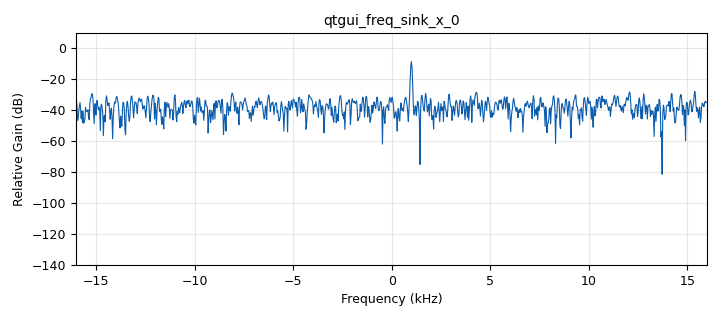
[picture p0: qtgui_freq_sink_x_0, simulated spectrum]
<?xml version='1.0' encoding='utf-8'?>
<?grc format='1' created='3.7.10'?>
<flow_graph>
<block>
<key>options</key>
<param><key>id</key><value>top_block</value></param>
<param><key>generate_options</key><value>qt_gui</value></param>
</block>
<block>
<key>variable_qtgui_range</key>
<param><key>id</key><value>freq</value></param>
<param><key>value</key><value>1e3</value></param>
<param><key>label</key><value>Freq</value></param>
<param><key>orient</key><value>Qt.Horizontal</value></param>
<param><key>start</key><value>1</value></param>
<param><key>step</key><value>1</value></param>
<param><key>stop</key><value>32e3</value></param>
</block>
<block>
<key>variable</key>
<param><key>id</key><value>prefix</value></param>
<param><key>value</key><value>"/home/user/recordings/"</value></param>
</block>
<block>
<key>variable_qtgui_check_box</key>
<param><key>id</key><value>recording_checkbox</value></param>
<param><key>value</key><value>False</value></param>
<param><key>false</key><value>False</value></param>
<param><key>label</key><value>Record</value></param>
<param><key>true</key><value>True</value></param>
<param><key>type</key><value>int</value></param>
</block>
<block>
<key>variable</key>
<param><key>id</key><value>samp_rate</value></param>
<param><key>value</key><value>32000</value></param>
</block>
<block>
<key>analog_noise_source_x</key>
<param><key>id</key><value>analog_noise_source_x_0</value></param>
<param><key>amp</key><value>1</value></param>
<param><key>noise_type</key><value>analog.GR_GAUSSIAN</value></param>
<param><key>type</key><value>complex</value></param>
<param><key>seed</key><value>0</value></param>
</block>
<block>
<key>analog_sig_source_x</key>
<param><key>id</key><value>analog_sig_source_x_0</value></param>
<param><key>amp</key><value>1</value></param>
<param><key>freq</key><value>freq</value></param>
<param><key>offset</key><value>0</value></param>
<param><key>type</key><value>complex</value></param>
<param><key>samp_rate</key><value>samp_rate</value></param>
<param><key>waveform</key><value>analog.GR_COS_WAVE</value></param>
</block>
<block>
<key>blocks_add_xx</key>
<param><key>id</key><value>blocks_add_xx_0</value></param>
<param><key>type</key><value>complex</value></param>
</block>
<block>
<key>blocks_file_sink</key>
<param><key>id</key><value>blocks_file_sink_0_0</value></param>
<param><key>file</key><value>prefix + datetime.now().strftime("%Y.%m.%d.%H.%M.%S") + "_" + str(freq) +".f32" if recording_checkbox else "/dev/null"</value></param>
<param><key>type</key><value>complex</value></param>
</block>
<block>
<key>blocks_throttle</key>
<param><key>id</key><value>blocks_throttle_0</value></param>
<param><key>samples_per_second</key><value>samp_rate</value></param>
<param><key>type</key><value>complex</value></param>
</block>
<block>
<key>import</key>
<param><key>id</key><value>import_0</value></param>
<param><key>import</key><value>from datetime import datetime</value></param>
</block>
<block>
<key>qtgui_freq_sink_x</key>
<param><key>id</key><value>qtgui_freq_sink_x_0</value></param>
<param><key>bw</key><value>samp_rate</value></param>
<param><key>fc</key><value>0</value></param>
<param><key>fftsize</key><value>1024</value></param>
<param><key>showports</key><value>True</value></param>
<param><key>type</key><value>complex</value></param>
<param><key>wintype</key><value>firdes.WIN_BLACKMAN_hARRIS</value></param>
</block>
<connection><source_block_id>analog_noise_source_x_0</source_block_id><sink_block_id>blocks_add_xx_0</sink_block_id><source_key>0</source_key><sink_key>0</sink_key></connection>
<connection><source_block_id>analog_sig_source_x_0</source_block_id><sink_block_id>blocks_add_xx_0</sink_block_id><source_key>0</source_key><sink_key>1</sink_key></connection>
<connection><source_block_id>blocks_add_xx_0</source_block_id><sink_block_id>blocks_throttle_0</sink_block_id><source_key>0</source_key><sink_key>0</sink_key></connection>
<connection><source_block_id>blocks_throttle_0</source_block_id><sink_block_id>blocks_file_sink_0_0</sink_block_id><source_key>0</source_key><sink_key>0</sink_key></connection>
<connection><source_block_id>blocks_throttle_0</source_block_id><sink_block_id>qtgui_freq_sink_x_0</sink_block_id><source_key>0</source_key><sink_key>0</sink_key></connection>
</flow_graph>
